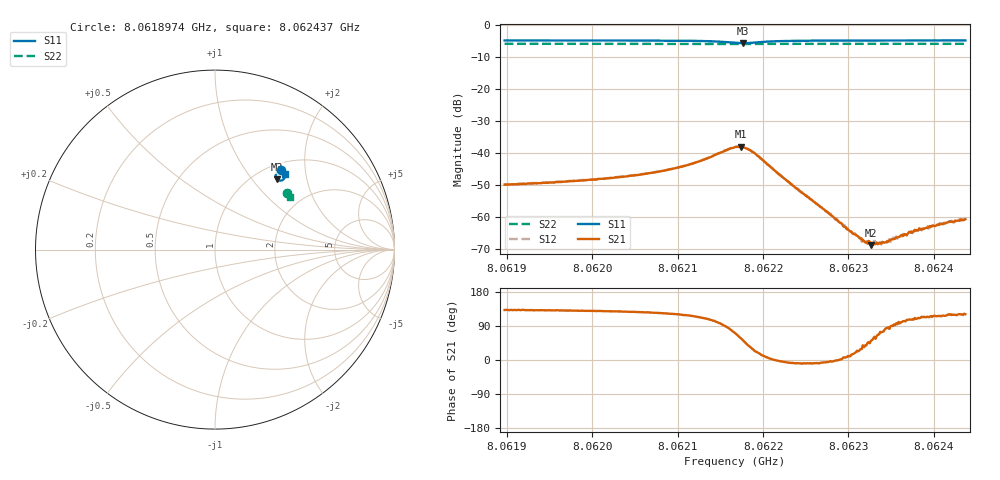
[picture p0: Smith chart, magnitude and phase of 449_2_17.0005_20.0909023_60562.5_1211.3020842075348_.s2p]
#  HZ  S  RI  R  50.00
! Rohde & Schwarz Vector Network Analyzer
! Rohde-Schwarz,ZNB20-2Port,1311601062101988,3.16
! Created: UTC 3/20/2024, 11:12:11 PM
! freq[Hz]  re:S11  im:S11  re:S21  im:S21  re:S12  im:S12  re:S22  im:S22
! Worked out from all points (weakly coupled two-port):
!   401 points, 8.0618974 GHz to 8.062437 GHz, reference 50 ohm
!   highest |S21| = -37.98 dB at 8.062174 GHz (marker M1); lowest = -68.9 dB at 8.0623264 GHz (marker M2)
!   lowest |S11| = -5.6 dB at 8.0621766 GHz (marker M3), VSWR 3.18, Z = 62.7 + j67.4 ohm
!   |S11| at or under -10 dB: nowhere
!   |S22| runs from -5.9 to -5.8 dB; largest |S21 - S12| = 0.00092
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8.06189739e9  0.3704 0.4412  -0.00213 0.00238  -0.00199 0.00251  0.3997 0.3174
8.06198778e9  0.377 0.4351  -0.00239 0.00284  -0.00227 0.00302  0.4031 0.3127
8.06203904e9  0.3814 0.4303  -0.00263 0.00339  -0.00245 0.00361  0.4048 0.3101
8.06207817e9  0.385 0.425  -0.00287 0.00425  -0.00263 0.00444  0.4065 0.3079
8.06211864e9  0.3888 0.4143  -0.00298 0.00622  -0.00264 0.00642  0.4077 0.3054
8.0621672e9  0.3632 0.384  0.00398 0.0117  0.00466 0.0115  0.4079 0.3023
8.06217395e9  0.3505 0.3875  0.00674 0.0107  0.00749 0.0102  0.4076 0.3023
8.06217665e9  0.3462 0.3908  0.00754 0.00958  0.00838 0.0092  0.4075 0.3024
8.06218474e9  0.3382 0.4044  0.00912 0.00629  0.00948 0.00582  0.4076 0.3027
8.06219284e9  0.3392 0.4179  0.00859 0.00331  0.00889 0.00274  0.4081 0.3028
8.06221982e9  0.3571 0.4346  0.00451 -0.000238  0.00457 -0.000554  0.4102 0.3021
8.06225759e9  0.3715 0.4346  0.0018 -0.000297  0.0018 -0.000371  0.412 0.3001
8.06230346e9  0.3795 0.4311  0.000573 0.000144  0.000577 0.000106  0.4139 0.2976
8.06231965e9  0.3815 0.4301  0.00031 0.000248  0.000349 0.000233  0.4143 0.2966
8.0623264e9  0.3824 0.4295  0.000227 0.000277  0.000266 0.000291  0.4147 0.2964
8.06232909e9  0.3826 0.4293  0.000204 0.000309  0.000239 0.000313  0.4149 0.2962
8.06233584e9  0.3834 0.429  0.00015 0.000362  0.000203 0.000333  0.415 0.296
8.06234798e9  0.3846 0.4281  5.93e-05 0.000422  2.7e-05 0.000447  0.4155 0.2954
8.06235473e9  0.3853 0.4276  -1.48e-05 0.000458  -1.58e-05 0.000454  0.4158 0.295
8.06238036e9  0.3874 0.4261  -0.000205 0.000591  -0.000164 0.000623  0.4166 0.2935
8.06241004e9  0.3898 0.4242  -0.00035 0.000687  -0.000341 0.000723  0.4176 0.2921
8.06243702e9  0.3917 0.4227  -0.000473 0.000793  -0.000445 0.000833  0.4187 0.2906
